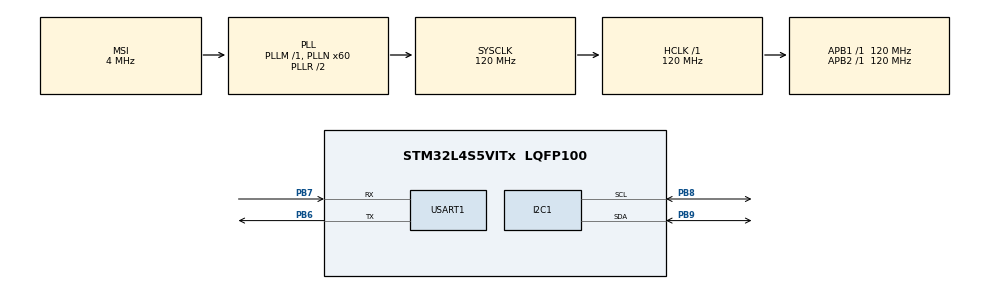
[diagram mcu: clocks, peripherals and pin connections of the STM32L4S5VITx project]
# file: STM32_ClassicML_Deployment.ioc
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I2C1.Timing=0x30A175AB
Mcu.Family=STM32L4
Mcu.Name=STM32L4S5VITx
Mcu.Package=LQFP100
NVIC.PriorityGroup=NVIC_PRIORITYGROUP_4
PB6.Mode=Asynchronous
PB6.Signal=USART1_TX
PB7.Mode=Asynchronous
PB7.Signal=USART1_RX
PB8.Mode=I2C
PB8.Signal=I2C1_SCL
PB9.Mode=I2C
PB9.Signal=I2C1_SDA
ProjectManager.HeapSize=0x200
ProjectManager.StackSize=0x400
ProjectManager.TargetToolchain=STM32CubeIDE
RCC.ADCFreq_Value=48000000
RCC.AHBFreq_Value=120000000
RCC.APB1Freq_Value=120000000
RCC.APB1TimFreq_Value=120000000
RCC.APB2Freq_Value=120000000
RCC.APB2TimFreq_Value=120000000
RCC.CortexFreq_Value=120000000
RCC.HCLKFreq_Value=120000000
RCC.HSE_VALUE=8000000
RCC.HSI48_VALUE=48000000
RCC.HSI_VALUE=16000000
RCC.MSI_VALUE=4000000
RCC.PLLN=60
RCC.PLLSAI1N=24
RCC.SYSCLKFreq_VALUE=120000000
RCC.SYSCLKSource=RCC_SYSCLKSOURCE_PLLCLK
RCC.USBFreq_Value=48000000
RCC.VCOOutputFreq_Value=240000000
STMicroelectronics.X-CUBE-AI.10.2.0.ActivationBufferSizeList=2092
STMicroelectronics.X-CUBE-AI.10.2.0.ActivationBuffers=pool0
STMicroelectronics.X-CUBE-AI.10.2.0.ActivationNames=pool0
STMicroelectronics.X-CUBE-AI.10.2.0.ActivationSizes=AI_NETWORK_DATA_ACTIVATION_1_SIZE
STMicroelectronics.X-CUBE-AI.10.2.0.HeapSize=0x800
STMicroelectronics.X-CUBE-AI.10.2.0.InternalRamActivationBufferMaxSize=AI_NETWORK_DATA_ACTIVATIONS_SIZE
STMicroelectronics.X-CUBE-AI.10.2.0.LatestDirectoryUsed-aec3282734cac3c1fc612f18e84860396809b1b4c4865392e2b5675b04c8382f=D\:\\Nitte_TinyML_Workshop\\TinyML_Workshop\\ONNX
STMicroelectronics.X-CUBE-AI.10.2.0.MaximumNumberOfInputLayer=1
STMicroelectronics.X-CUBE-AI.10.2.0.MaximumNumberOfOutputLayer=1
STMicroelectronics.X-CUBE-AI.10.2.0.MaximumSizeOfInputLayer=1
STMicroelectronics.X-CUBE-AI.10.2.0.MaximumSizeOfOutputLayer=1,1
STMicroelectronics.X-CUBE-AI.10.2.0.ModelActualCompression-aec3282734cac3c1fc612f18e84860396809b1b4c4865392e2b5675b04c8382f=0.0
STMicroelectronics.X-CUBE-AI.10.2.0.ModelCompression-aec3282734cac3c1fc612f18e84860396809b1b4c4865392e2b5675b04c8382f=None
STMicroelectronics.X-CUBE-AI.10.2.0.ModelFlashOccupation-aec3282734cac3c1fc612f18e84860396809b1b4c4865392e2b5675b04c8382f=1321444
STMicroelectronics.X-CUBE-AI.10.2.0.ModelHashList=aec3282734cac3c1fc612f18e84860396809b1b4c4865392e2b5675b04c8382f
STMicroelectronics.X-CUBE-AI.10.2.0.ModelKind-aec3282734cac3c1fc612f18e84860396809b1b4c4865392e2b5675b04c8382f=ONNX
STMicroelectronics.X-CUBE-AI.10.2.0.ModelMacc-aec3282734cac3c1fc612f18e84860396809b1b4c4865392e2b5675b04c8382f=1311
STMicroelectronics.X-CUBE-AI.10.2.0.ModelName-aec3282734cac3c1fc612f18e84860396809b1b4c4865392e2b5675b04c8382f=network
STMicroelectronics.X-CUBE-AI.10.2.0.ModelNameList=network
STMicroelectronics.X-CUBE-AI.10.2.0.ModelRamOccupation-aec3282734cac3c1fc612f18e84860396809b1b4c4865392e2b5675b04c8382f=2092
STMicroelectronics.X-CUBE-AI.10.2.0.ModelStructureFile-aec3282734cac3c1fc612f18e84860396809b1b4c4865392e2b5675b04c8382f=D\:\\Nitte_TinyML_Workshop\\TinyML_Workshop\\ONNX\\random_forest_model.onnx
STMicroelectronics.X-CUBE-AI.10.2.0.ModelType-aec3282734cac3c1fc612f18e84860396809b1b4c4865392e2b5675b04c8382f=STM32Cube.AI MCU runtime
STMicroelectronics.X-CUBE-AI.10.2.0.ReadyForCodeGeneration=true
STMicroelectronics.X-CUBE-AI.10.2.0.StackSize=0x800
STMicroelectronics.X-CUBE-AI.10.2.0.WorkingBufferStartAddrList=0xFFFFFFFF
STMicroelectronics.X-CUBE-AI.10.2.0.XAaCUBEAaAICcArtificialOoIntelligenceJjCore=true
STMicroelectronics.X-CUBE-AI.10.2.0.copyWeightToRam=false
STMicroelectronics.X-CUBE-AI.10.2.0.customLayerConfigEnabled=false
STMicroelectronics.X-CUBE-AI.10.2.0.noOnnxIoTranspose=false
STMicroelectronics.X-CUBE-AI.10.2.0.useInputAllocation=true
STMicroelectronics.X-CUBE-AI.10.2.0.useOutputAllocation=true
USART1.VirtualMode-Asynchronous=VM_ASYNC
VP_STMicroelectronics.X-CUBE-AI_VS_ArtificialOoIntelligenceJjXAaCUBEAaAI_10.2.0.Mode=ArtificialOoIntelligenceJjXAaCUBEAaAI
board=B-L4S5I-IOT01A

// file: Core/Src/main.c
/* USER CODE BEGIN Header */
/**
  ******************************************************************************
  * @file           : main.c
  * @brief          : Main program body
  ******************************************************************************
  * @attention
  *
  * Copyright (c) 2026 STMicroelectronics.
  * All rights reserved.
  *
  * This software is licensed under terms that can be found in the LICENSE file
  * in the root directory of this software component.
  * If no LICENSE file comes with this software, it is provided AS-IS.
  *
  ******************************************************************************
  */
/* USER CODE END Header */
#include "main.h"

/* USER CODE BEGIN Includes */
#include "stdio.h"
#include "string.h"
#include "network.h"
#include "network_data.h"
#include "network_data_params.h"
#include "mpu.h"
/* USER CODE END Includes */

I2C_HandleTypeDef hi2c1;

UART_HandleTypeDef huart1;

/* USER CODE BEGIN PV */
ai_handle network = AI_HANDLE_NULL;

AI_ALIGNED(4)
static ai_u8 activations_buffer[AI_NETWORK_DATA_ACTIVATIONS_SIZE];

static ai_buffer *ai_input;
static ai_buffer *ai_output;

/* Input Features */
float input_data[6];

const float feature_min[6] =
{
    -2.000f,
    -2.000f,
    -2.000f,
    -250.137f,
    -250.137f,
    -250.137f
};

const float feature_max[6] =
{
     2.000f,
     1.749f,
     2.000f,
     250.130f,
     250.130f,
     250.130f
};

/* Predicted Label */
int32_t predicted_label;

/* Output Probabilities */
float probabilities[10];
/* USER CODE END PV */

void SystemClock_Config(void);
static void MX_GPIO_Init(void);
static void MX_I2C1_Init(void);
static void MX_USART1_UART_Init(void);
/* USER CODE BEGIN PFP */
void Normalize_Features(void);
void AI_Run(void);
/* USER CODE END PFP */

/* USER CODE BEGIN 0 */
void MX_X_CUBE_AI_Init(void)
{
    ai_error err;

    /* Activation memory */
    const ai_handle activations[] =
    {
    		activations_buffer
    };

    /* Use embedded weights generated by X-CUBE-AI */
    err = ai_network_create_and_init(
            &network,
            activations,
            NULL);

    if (err.type != AI_ERROR_NONE)
    {
        printf("AI Init Failed\r\n");
        printf("Type = %d\r\n", err.type);
        printf("Code = %d\r\n", err.code);
        Error_Handler();
    }

    ai_input  = ai_network_inputs_get(network, NULL);
    ai_output = ai_network_outputs_get(network, NULL);

    printf("AI Initialized Successfully\r\n");
}

/* USER CODE END 0 */

int main(void)
{

  /* MCU Configuration--------------------------------------------------------*/

  /* Reset of all peripherals, Initializes the Flash interface and the Systick. */
  HAL_Init();

  /* Configure the system clock */
  SystemClock_Config();

  /* Initialize all configured peripherals */
  MX_GPIO_Init();
  MX_I2C1_Init();
  MX_USART1_UART_Init();
  /* USER CODE BEGIN 2 */
  printf("\r\n");
  printf("Random Forest STM32 Demo\r\n");

  MX_X_CUBE_AI_Init();

  MPU6050_Init();
  CoreDebug->DEMCR |= CoreDebug_DEMCR_TRCENA_Msk;
  DWT->CTRL |= DWT_CTRL_CYCCNTENA_Msk;
  /* USER CODE END 2 */

  /* Infinite loop */
  while (1)
  {

    /* USER CODE BEGIN 3 */
	  MPU6050_Read_Accel(accel_data);
	  MPU6050_Read_Gyro(gyro_data);

	  /* Build feature vector */
	  input_data[0] = Ax;
	  input_data[1] = Ay;
	  input_data[2] = Az;
	  input_data[3] = Gx;
	  input_data[4] = Gy;
	  input_data[5] = Gz;

	  /* Normalize */
	  Normalize_Features();

	  printf("\nRaw Sensor Values\n");
	  printf("\nAx = %.3f  Ay = %.3f  Az = %.3f\n", Ax, Ay, Az);
	  printf("\nGx = %.3f  Gy = %.3f  Gz = %.3f\n", Gx, Gy, Gz);

	  printf("\nNormalized Features\n");
	  for(int i = 0; i < 6; i++)
	  {
	      printf("%.3f ", input_data[i]);
	  }
	  printf("\n");

	  /* Run inference */
	  uint64_t total_cycles = 0;

	  for(int i = 0; i < 1000; i++)
	  {

	      uint32_t start = DWT->CYCCNT;

	      AI_Run();

	      uint32_t end = DWT->CYCCNT;

	      DWT->CYCCNT = 0;

	      total_cycles += (end - start);
	  }

	  uint32_t avg_cycles = total_cycles / 1000;

	  printf("CPU Cycles : %lu\r\n", avg_cycles);

	  float latency_ms =
	  ((float)avg_cycles / 120000000.0f) * 1000.0f;

	  printf("Latency : %.3f ms\r\n", latency_ms);

	  float throughput =
	  1000.0f/latency_ms;

	  printf("Throughput : %.2f inf/sec\r\n",throughput);

	  HAL_Delay(200);
  }
  /* USER CODE END 3 */
}

void SystemClock_Config(void)
{
  RCC_OscInitTypeDef RCC_OscInitStruct = {0};
  RCC_ClkInitTypeDef RCC_ClkInitStruct = {0};

  /** Configure the main internal regulator output voltage
  */
  if (HAL_PWREx_ControlVoltageScaling(PWR_REGULATOR_VOLTAGE_SCALE1_BOOST) != HAL_OK)
  {
    Error_Handler();
  }

  /** Initializes the RCC Oscillators according to the specified parameters
  * in the RCC_OscInitTypeDef structure.
  */
  RCC_OscInitStruct.OscillatorType = RCC_OSCILLATORTYPE_MSI;
  RCC_OscInitStruct.MSIState = RCC_MSI_ON;
  RCC_OscInitStruct.MSICalibrationValue = 0;
  RCC_OscInitStruct.MSIClockRange = RCC_MSIRANGE_6;
  RCC_OscInitStruct.PLL.PLLState = RCC_PLL_ON;
  RCC_OscInitStruct.PLL.PLLSource = RCC_PLLSOURCE_MSI;
  RCC_OscInitStruct.PLL.PLLM = 1;
  RCC_OscInitStruct.PLL.PLLN = 60;
  RCC_OscInitStruct.PLL.PLLP = RCC_PLLP_DIV2;
  RCC_OscInitStruct.PLL.PLLQ = RCC_PLLQ_DIV2;
  RCC_OscInitStruct.PLL.PLLR = RCC_PLLR_DIV2;
  if (HAL_RCC_OscConfig(&RCC_OscInitStruct) != HAL_OK)
  {
    Error_Handler();
  }

  /** Initializes the CPU, AHB and APB buses clocks
  */
  RCC_ClkInitStruct.ClockType = RCC_CLOCKTYPE_HCLK|RCC_CLOCKTYPE_SYSCLK
                              |RCC_CLOCKTYPE_PCLK1|RCC_CLOCKTYPE_PCLK2;
  RCC_ClkInitStruct.SYSCLKSource = RCC_SYSCLKSOURCE_PLLCLK;
  RCC_ClkInitStruct.AHBCLKDivider = RCC_SYSCLK_DIV1;
  RCC_ClkInitStruct.APB1CLKDivider = RCC_HCLK_DIV1;
  RCC_ClkInitStruct.APB2CLKDivider = RCC_HCLK_DIV1;

  if (HAL_RCC_ClockConfig(&RCC_ClkInitStruct, FLASH_LATENCY_5) != HAL_OK)
  {
    Error_Handler();
  }
}

static void MX_I2C1_Init(void)
{

  hi2c1.Instance = I2C1;
  hi2c1.Init.Timing = 0x30A175AB;
  hi2c1.Init.OwnAddress1 = 0;
  hi2c1.Init.AddressingMode = I2C_ADDRESSINGMODE_7BIT;
  hi2c1.Init.DualAddressMode = I2C_DUALADDRESS_DISABLE;
  hi2c1.Init.OwnAddress2 = 0;
  hi2c1.Init.OwnAddress2Masks = I2C_OA2_NOMASK;
  hi2c1.Init.GeneralCallMode = I2C_GENERALCALL_DISABLE;
  hi2c1.Init.NoStretchMode = I2C_NOSTRETCH_DISABLE;
  if (HAL_I2C_Init(&hi2c1) != HAL_OK)
  {
    Error_Handler();
  }

  /** Configure Analogue filter
  */
  if (HAL_I2CEx_ConfigAnalogFilter(&hi2c1, I2C_ANALOGFILTER_ENABLE) != HAL_OK)
  {
    Error_Handler();
  }

  /** Configure Digital filter
  */
  if (HAL_I2CEx_ConfigDigitalFilter(&hi2c1, 0) != HAL_OK)
  {
    Error_Handler();
  }

}

static void MX_USART1_UART_Init(void)
{

  huart1.Instance = USART1;
  huart1.Init.BaudRate = 115200;
  huart1.Init.WordLength = UART_WORDLENGTH_8B;
  huart1.Init.StopBits = UART_STOPBITS_1;
  huart1.Init.Parity = UART_PARITY_NONE;
  huart1.Init.Mode = UART_MODE_TX_RX;
  huart1.Init.HwFlowCtl = UART_HWCONTROL_NONE;
  huart1.Init.OverSampling = UART_OVERSAMPLING_16;
  huart1.Init.OneBitSampling = UART_ONE_BIT_SAMPLE_DISABLE;
  huart1.Init.ClockPrescaler = UART_PRESCALER_DIV1;
  huart1.AdvancedInit.AdvFeatureInit = UART_ADVFEATURE_NO_INIT;
  if (HAL_UART_Init(&huart1) != HAL_OK)
  {
    Error_Handler();
  }
  if (HAL_UARTEx_SetTxFifoThreshold(&huart1, UART_TXFIFO_THRESHOLD_1_8) != HAL_OK)
  {
    Error_Handler();
  }
  if (HAL_UARTEx_SetRxFifoThreshold(&huart1, UART_RXFIFO_THRESHOLD_1_8) != HAL_OK)
  {
    Error_Handler();
  }
  if (HAL_UARTEx_DisableFifoMode(&huart1) != HAL_OK)
  {
    Error_Handler();
  }

}

static void MX_GPIO_Init(void)
{

  /* GPIO Ports Clock Enable */
  __HAL_RCC_GPIOB_CLK_ENABLE();

}

/* USER CODE BEGIN 4 */
int _write(int file, char *ptr, int len)
{
    HAL_UART_Transmit(&huart1, (uint8_t*)ptr, len, HAL_MAX_DELAY);
    return len;
}

void Normalize_Features(void)
{
    for(int i = 0; i < 6; i++)
    {
        input_data[i] =
            (input_data[i] - feature_min[i]) /
            (feature_max[i] - feature_min[i]);

        /* Optional safety clipping */
        if(input_data[i] < 0.0f)
            input_data[i] = 0.0f;

        if(input_data[i] > 1.0f)
            input_data[i] = 1.0f;
    }
}

void AI_Run(void)
{
    ai_i32 batch;

    ai_input[0].data = AI_HANDLE_PTR(input_data);

    ai_output[0].data = AI_HANDLE_PTR(&predicted_label);

    ai_output[1].data = AI_HANDLE_PTR(probabilities);

    batch = ai_network_run(network,
                           ai_input,
                           ai_output);

    if(batch != 1)
    {
        printf("Inference Error\r\n");
        return;
    }

    printf("\r\n-------------------------\r\n");

    printf("Predicted Class : %ld\r\n", predicted_label);

}
/* USER CODE END 4 */

void Error_Handler(void)
{
  __disable_irq();
  while (1)
  {
  }
}
